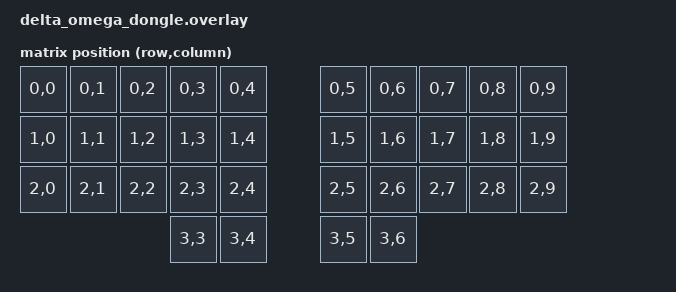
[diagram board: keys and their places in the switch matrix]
#include <dt-bindings/zmk/matrix_transform.h>
#include "delta_omega-layout.dtsi"

/* Dongle XIAO uses a SoftDevice-less bootloader that expects the app at 0x1000
 * (Zephyr BLE controller layout). Without this the app links at 0x27000 and
 * the bootloader faults straight back to UF2 mode. Matches totem_dongle. */
&flash0 {
	partitions {
		/delete-node/ partition@1000;
		/delete-node/ partition@27000;

		code_partition: partition@1000 {
			label = "code_partition";
			reg = <0x00001000 0x000ec000>;
		};
	};
};

/ {
    chosen {
        zmk,kscan = &mock_kscan;
        zmk,physical-layout = &physical_layout0;
    };

    mock_kscan: mock_kscan_0 {
        compatible = "zmk,kscan-mock";
        columns = <0>;
        rows = <0>;
        events = <0>;
    };

    default_transform: keymap_transform_0 {
        compatible = "zmk,matrix-transform";
        columns = <10>;
        rows = <4>;
        map = <
            RC(0,0) RC(0,1) RC(0,2) RC(0,3) RC(0,4)    RC(0,5) RC(0,6) RC(0,7) RC(0,8) RC(0,9)
            RC(1,0) RC(1,1) RC(1,2) RC(1,3) RC(1,4)    RC(1,5) RC(1,6) RC(1,7) RC(1,8) RC(1,9)
            RC(2,0) RC(2,1) RC(2,2) RC(2,3) RC(2,4)    RC(2,5) RC(2,6) RC(2,7) RC(2,8) RC(2,9)
                                    RC(3,3) RC(3,4)    RC(3,5) RC(3,6)
        >;
    };
};

&physical_layout0 {
    transform = <&default_transform>;
};
